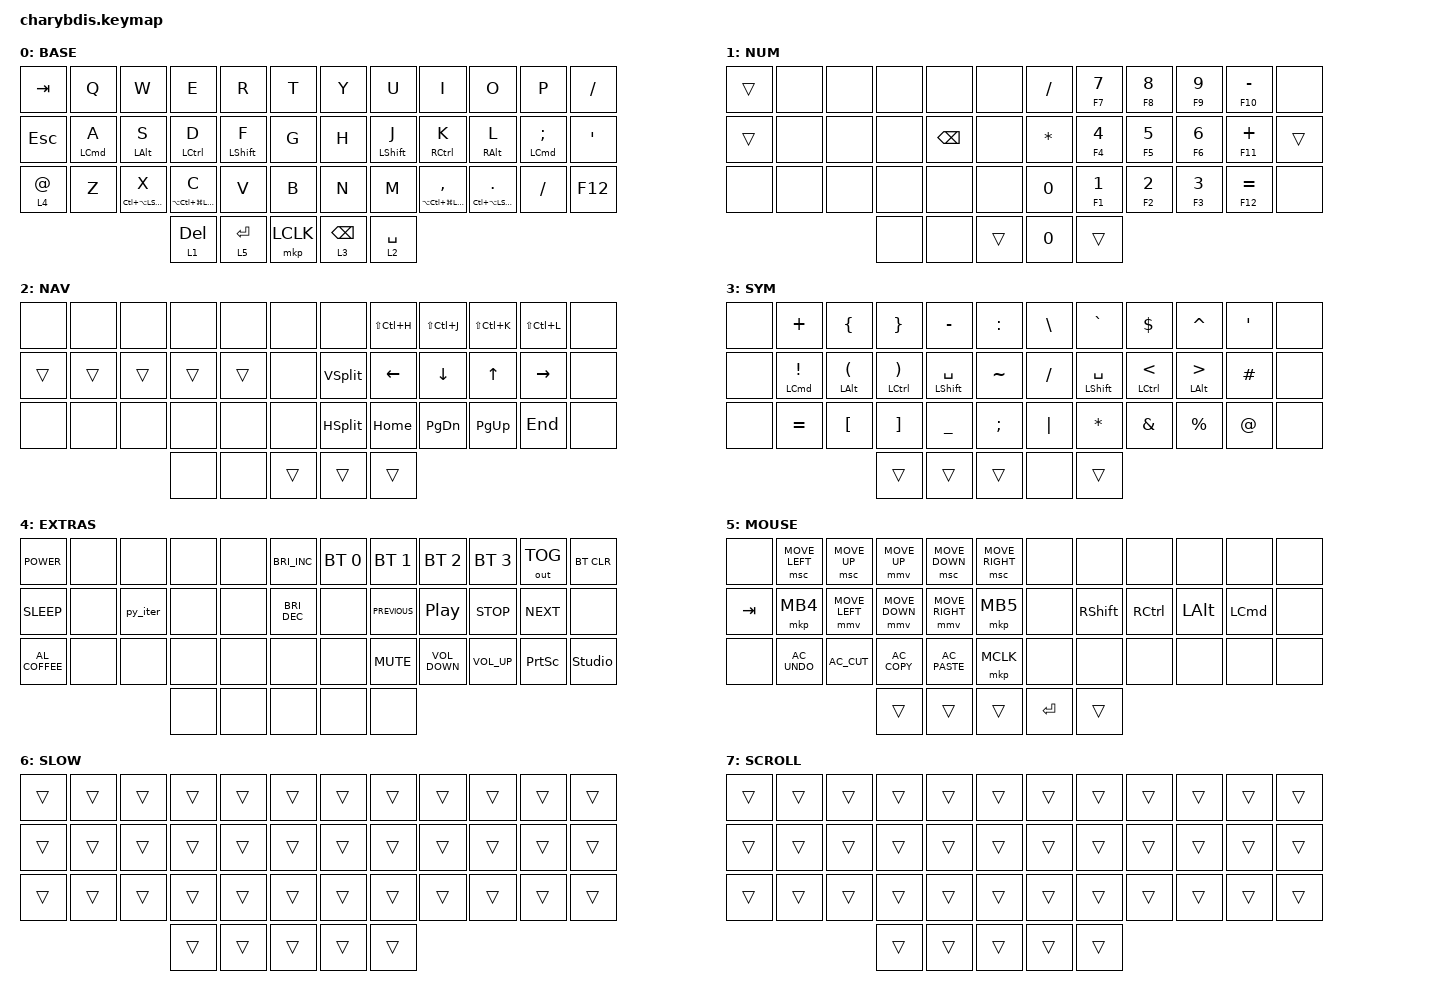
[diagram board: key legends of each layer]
#include <behaviors.dtsi>
#include <dt-bindings/zmk/bt.h>
#include <dt-bindings/zmk/keys.h>
#include <dt-bindings/zmk/mouse.h>
#include <dt-bindings/zmk/outputs.h>
#include <behaviors/mouse_keys.dtsi>
#include <dt-bindings/zmk/ext_power.h>
#include "macros.dtsi"

// / {
//     chosen { zmk,matrix_transform = &default_transform; };
// };

/ {
    /* input config for mouse move mode */
    trackball_listener {
        compatible = "zmk,input-behavior-listener";
        device = <&vtrackball>;
        layers = <0 2>;
        evt-type = <INPUT_EV_REL>;
        x-input-code = <INPUT_REL_X>;
        y-input-code = <INPUT_REL_Y>;
        scale-multiplier = <1>;
        scale-divisor = <2>;
        bindings = <&ib_toggle_layer 5>;
    };

    /* input config for snipe mode */
    trackball_snipe_listener {
        compatible = "zmk,input-behavior-listener";   
        device = <&vtrackball>;
        layers = <6>;
        evt-type = <INPUT_EV_REL>;
        x-input-code = <INPUT_REL_X>;
        y-input-code = <INPUT_REL_Y>;
        scale-multiplier = <1>;
        scale-divisor = <4>;
    };

    /* input config for mouse scroll mode */
    trackball_scroll_listener {
        compatible = "zmk,input-behavior-listener";
        device = <&vtrackball>;
        layers = <7>;
        evt-type = <INPUT_EV_REL>;            
        x-input-code = <INPUT_REL_MISC>;
        y-input-code = <INPUT_REL_WHEEL>;
        y-invert;
        bindings = <&ib_wheel_scaler 1 14>;
    };

    /* define a resolution down scaler only for INPUT_REL_WHEEL */
    ib_wheel_scaler: ib_wheel_scaler {
        compatible = "zmk,input-behavior-scaler";
        #binding-cells = <2>;
        evt-type = <INPUT_EV_REL>;
        input-code = <INPUT_REL_WHEEL>;
    };

    /* adjust cooldown waiting period for mouse key layer after activated */
    ib_toggle_layer: ib_toggle_layer {
        compatible = "zmk,input-behavior-tog-layer";
        #binding-cells = <1>;
        time-to-live-ms = <750>;
    };

    behaviors {
        hm: homerow_mod {
            compatible = "zmk,behavior-hold-tap";
            #binding-cells = <2>;
            flavor = "tap-preferred";
            tapping-term-ms = <175>; // triggers the hold behavior when the tapping-term-ms has expired
            quick-tap-ms = <150>; // If you press a tapped hold-tap again within quick-tap-ms milliseconds of the first press, it will always trigger the tap behavior.
            require-prior-idle-ms = <185>; // like quick-tap-ms however it will apply for any non-modifier key pressed before it
            bindings = <&kp>, <&kp>;  // hold, tap
        };

        httl: ht_two_layers {
            compatible = "zmk,behavior-hold-tap";
            bindings = <&mo>, <&to>;
            #binding-cells = <2>;
            flavor = "balanced";
            tapping-term-ms = <125>;
        };

        td_clk_scrl: td_click_or_scroll {
            compatible = "zmk,behavior-tap-dance";
            #binding-cells = <0>;
            tapping-term-ms = <250>;
            bindings = <&mkp RCLK>, <&mo 7>;  // tap/hold, double_tap
        };
    };

    combos {
        compatible = "zmk,combos";

        CapsWord {
            bindings = <&caps_word>;
            key-positions = <17 18>;
            layers = <0>;
        };

        MiddleClick {
            bindings = <&mkp MCLK>;
            key-positions = <28 37>;
        };

        RightClick {
            bindings = <&mkp RCLK>;
            key-positions = <16 37>;
        };
    };

// ╭──────┬──────┬──────┬──────┬──────┬──────╮  ╭──────┬──────┬──────┬──────┬──────┬──────╮
//    00     01     02     03    04      05        06     07     08     09     10     11
// ├──────┼──────┼──────┼──────┼──────┼──────┤  ├──────┼──────┼──────┼──────┼──────┼──────┤
//    12     13     14     15    16      17        18     19     20     21     22     23
// ├──────┼──────┼──────┼──────┼──────┼──────┤  ├──────┼──────┼──────┼──────┼──────┼──────┤
//    24     25     26     27    28      29        30     31     32     33     34     35
// ╰──────┴──────┴──────┼──────┼──────┼──────┤  ├──────┼──────┼──────┴──────┴──────┴──────╯
//                         36     37     38        39     40
//                      ╰──────┴──────┴──────╯  ╰──────┴──────╯
// #define BASE    0
// #define NUM     1
// #define NAV     2
// #define SYM     3
// #define EXTRAS  4
// #define MOUSE   5
// #define SLOW    6
// #define SCROLL  7

    keymap {
        compatible = "zmk,keymap";
        BASE {
            bindings = <
// ╭────────────────┬──────────────┬─────────────────────────┬─────────────────────────────┬──────────────────┬──────────────────╮  ╭────────────────┬─────────────────┬──────────────────────────────────┬──────────────────────────────┬────────────────────────┬──────────────╮
    &kp TAB            &kp Q           &kp W                     &kp E                         &kp R              &kp T                 &kp Y             &kp U             &kp I                             &kp O                          &kp P                   &kp FSLH
// ├────────────────┼──────────────┼─────────────────────────┼─────────────────────────────┼──────────────────┼──────────────────┤  ├────────────────┼─────────────────┼──────────────────────────────────┼──────────────────────────────┼────────────────────────┼──────────────┤
    &kp ESC          &hm LCMD A           &hm LEFT_ALT S            &hm LCTRL D            &hm LEFT_SHIFT F     &kp G                 &kp H         &hm LEFT_SHIFT J      &hm RCTRL K                       &hm RIGHT_ALT L                &hm LCMD SEMICOLON       &kp SQT
// ├────────────────┼──────────────┼─────────────────────────┼─────────────────────────────┼──────────────────┼──────────────────┤  ├────────────────┼─────────────────┼──────────────────────────────────┼──────────────────────────────┼────────────────────────┼──────────────┤
    &lt 4 AT_SIGN           &kp Z           &hm LC(LA(LEFT_SHIFT)) X  &hm LA(LC(LG(LEFT_SHIFT))) C  &kp V              &kp B                 &kp N             &kp M             &hm LA(LC(LG(LEFT_SHIFT))) COMMA  &hm LC(LA(LEFT_SHIFT)) PERIOD  &kp FSLH                 &kp F12
// ╰────────────────┴──────────────┴─────────────────────────┼─────────────────────────────┼──────────────────┼──────────────────┤  ├────────────────┼─────────────────┼──────────────────────────────────┴──────────────────────────────┴────────────────────────┴──────────────╯
                                                                               &lt 1 DELETE    &lt 5 RETURN          &mkp LCLK        &lt 3 BACKSPACE   &lt 2 SPACE
                                                                          // ╰─────────────┴──────────────────┴──────────────────╯  ╰────────────────┴──────────────╯
            >;
        };

        NUM {
            bindings = <
&trans   &none  &none  &none  &none          &none    &kp SLASH  &hm F7 N7  &hm F8 N8  &hm F9 N9  &hm F10 MINUS  &none
&trans   &none  &none  &none  &kp BACKSPACE  &none    &kp ASTRK  &hm F4 N4  &hm F5 N5  &hm F6 N6  &hm F11 PLUS   &trans
&none    &none  &none  &none  &none          &none    &kp N0    &hm F1 N1  &hm F2 N2  &hm F3 N3  &hm F12 EQUAL  &none
                       &none  &none          &trans   &kp N0     &trans
            >;
        };

        NAV {
            bindings = <
&none   &none   &none   &none   &none   &none     &none    &kp LS(LC(H))   &kp LS(LC(J))  &kp LS(LC(K))  &kp LS(LC(L))    &none
&trans  &trans  &trans  &trans  &trans  &none     &VSplit  &kp LEFT_ARROW  &kp DOWN       &kp UP         &kp RIGHT_ARROW  &none
&none   &none   &none   &none   &none   &none     &HSplit  &kp HOME        &kp PG_DN      &kp PG_UP      &kp END          &none
                        &none   &none   &trans    &trans   &trans
            >;
        };

        SYM {
            bindings = <
&none  &kp PLUS            &kp LEFT_BRACE     &kp RIGHT_BRACE  &kp MINUS             &kp COLON      &kp BSLH   &kp GRAVE             &kp DLLR      &kp CARET        &kp SQT      &none
&none  &hm LCMD EXCL       &hm LEFT_ALT LPAR  &hm LCTRL RPAR   &hm LEFT_SHIFT SPACE  &kp TILDE      &kp SLASH  &hm LEFT_SHIFT SPACE  &hm LCTRL LT  &hm LEFT_ALT GT  &kp HASH     &none
&none  &kp EQUAL           &kp LBKT           &kp RBKT         &kp UNDERSCORE        &kp SEMICOLON  &kp PIPE   &kp ASTRK             &kp AMPS      &kp PRCNT        &kp AT_SIGN  &none
                                              &trans           &trans                &trans         &none      &trans
            >;
        };

        EXTRAS {
            bindings = <
&kp C_POWER       &none   &none     &none     &none  &kp C_BRIGHTNESS_INC    &bt BT_SEL 0  &bt BT_SEL 1    &bt BT_SEL 2       &bt BT_SEL 3      &out OUT_TOG     &bt BT_CLR
&kp C_SLEEP       &none   &py_iter  &none     &none  &kp C_BRIGHTNESS_DEC    &none         &kp C_PREVIOUS  &kp C_PLAY_PAUSE   &kp C_STOP        &kp C_NEXT       &none
&kp C_AL_COFFEE   &none   &none     &none     &none  &none                   &none         &kp K_MUTE      &kp C_VOLUME_DOWN  &kp C_VOLUME_UP   &kp PRINTSCREEN  &studio_unlock
                                    &none     &none  &none                   &none         &none
            >;
        };

        MOUSE {
            bindings = <
&none    &msc MOVE_LEFT  &msc MOVE_UP    &mmv MOVE_UP    &msc MOVE_DOWN   &msc MOVE_RIGHT    &none  &none            &none      &none         &none          &none
&kp TAB  &mkp MB4        &mmv MOVE_LEFT  &mmv MOVE_DOWN  &mmv MOVE_RIGHT  &mkp MB5           &none  &kp RIGHT_SHIFT  &kp RCTRL  &kp LEFT_ALT  &kp LCMD  &none
&none    &kp C_AC_UNDO   &kp C_AC_CUT    &kp C_AC_COPY   &kp C_AC_PASTE   &mkp MCLK          &none  &none            &none      &none         &none          &none
                                         &trans          &trans           &trans             &kp RETURN              &trans
            >;
        };

        SLOW {
            bindings = <
&trans    &trans    &trans    &trans    &trans    &trans    &trans    &trans    &trans    &trans    &trans    &trans
&trans    &trans    &trans    &trans    &trans    &trans    &trans    &trans    &trans    &trans    &trans    &trans
&trans    &trans    &trans    &trans    &trans    &trans    &trans    &trans    &trans    &trans    &trans    &trans
                              &trans    &trans    &trans    &trans    &trans
            >;
        };

        SCROLL {
            bindings = <
&trans    &trans    &trans    &trans    &trans    &trans    &trans    &trans    &trans    &trans    &trans    &trans
&trans    &trans    &trans    &trans    &trans    &trans    &trans    &trans    &trans    &trans    &trans    &trans
&trans    &trans    &trans    &trans    &trans    &trans    &trans    &trans    &trans    &trans    &trans    &trans
                              &trans    &trans    &trans    &trans    &trans
            >;
        };
    };
};
